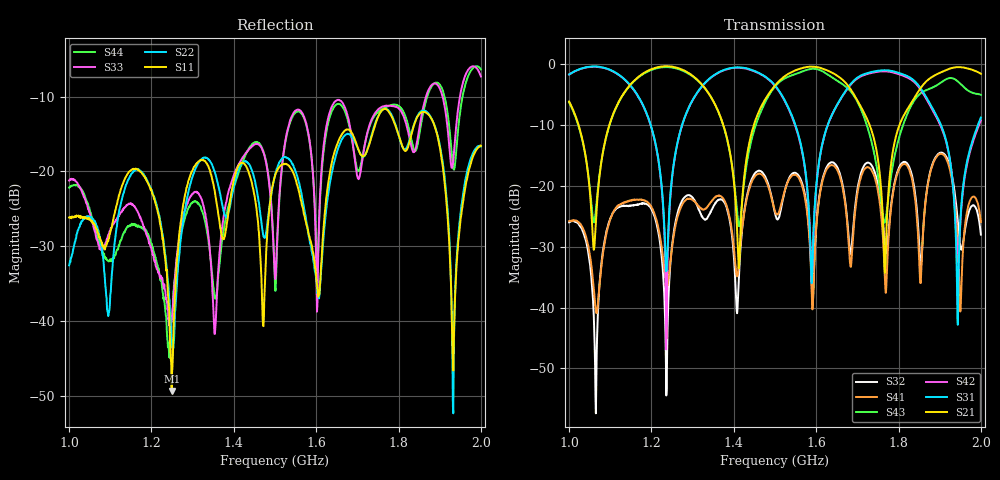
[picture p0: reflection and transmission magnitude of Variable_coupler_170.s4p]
#  HZ  S  DB  R  50.00
! Rohde & Schwarz Vector Network Analyzer
! Rohde-Schwarz,ZNB8-4Port,1311601044102961,2.82
! Created: UTC 1/17/2019, 3:20:16 PM
! freq[Hz]  db:S11  ang:S11  db:S12  ang:S12  db:S13  ang:S13  db:S14  ang:S14
!  db:S21  ang:S21  db:S22  ang:S22  db:S23  ang:S23  db:S24  ang:S24
!  db:S31  ang:S31  db:S32  ang:S32  db:S33  ang:S33  db:S34  ang:S34
!  db:S41  ang:S41  db:S42  ang:S42  db:S43  ang:S43  db:S44  ang:S44
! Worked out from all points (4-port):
!   1001 points, 1 GHz to 2 GHz, reference 50 ohm
!   strongest paths, dB at 1 GHz, 1.25 GHz, 1.5 GHz, 1.75 GHz, 2 GHz:
!     S21: -6.1, -0.4, -3.5, -15.6, -1.6
!     S31: -1.7, -18.5, -3.5, -1.1, -8.8
!     S42: -1.7, -18.7, -3.5, -1.2, -9.2
!     S43: -6.3, -0.5, -3.7, -18.2, -5.0
!     S41: -25.8, -30.1, -24.2, -20.9, -26.0
!     S32: -26.0, -29.8, -24.5, -19.7, -28.0
!   lowest |S11| = -49.4 dB at 1.249 GHz (marker M1), VSWR 1.01, Z = 49.8 - j0.238 ohm
!   |S11| at or under -10 dB: start of sweep to end of sweep
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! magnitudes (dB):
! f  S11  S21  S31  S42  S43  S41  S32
! 1 GHz  -26.2  -6.1  -1.7  -1.7  -6.3  -25.8  -26.0
! 1.249 GHz  -49.4  -0.4  -19.2  -19.3  -0.5  -30.6  -30.4
! 1.412 GHz  -19.2  -33.5  -0.5  -0.6  -26.5  -33.1  -35.3
! 1.589 GHz  -29.9  -0.4  -36.0  -35.7  -0.7  -37.2  -35.8
! 1.767 GHz  -11.6  -34.3  -1.0  -1.1  -26.0  -35.5  -29.7
! 1.933 GHz  -46.7  -0.6  -20.7  -20.3  -2.3  -20.5  -19.5
! 2 GHz  -16.6  -1.6  -8.8  -9.2  -5.0  -26.0  -28.0
